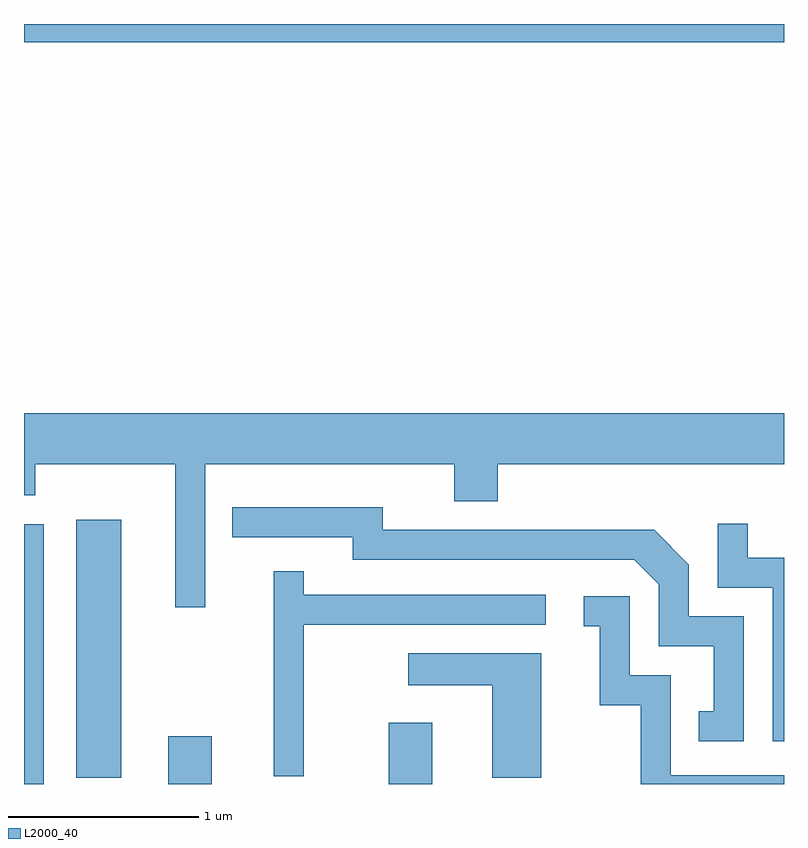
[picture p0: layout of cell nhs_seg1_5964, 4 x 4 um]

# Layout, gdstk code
import gdstk
lib = gdstk.Library(unit=1e-6, precision=1e-09)
def R(c, l, rs):  # rectangles x0, y0, x1, y1
    for r in rs: c.add(gdstk.rectangle(r[:2], r[2:], *l))
def P(c, l, *ps):  # polygons
    for p in ps: c.add(gdstk.Polygon(p, *l))
L2000_40 = (2000, 40)

nhs_seg1_5964 = lib.new_cell('nhs_seg1_5964')
R(nhs_seg1_5964, L2000_40, [(365.611,855.712,365.714,857.079), (366.371,855.712,366.599,855.964), (367.531,855.712,367.759,856.034), (365.886,855.746,366.124,857.104), (365.611,859.616,369.611,859.712)])
P(nhs_seg1_5964, L2000_40, [(366.564,857.396),(367.876,857.396),(367.876,857.201),(368.104,857.201),(368.104,857.396),(369.611,857.396),(369.611,857.664),(365.611,857.664),(365.611,857.231),(365.669,857.231),(365.669,857.396),(366.406,857.396),(366.406,856.643),(366.564,856.643)],
  [(369.399,856.594),(369.109,856.594),(369.109,856.867),(368.927,857.049),(367.499,857.049),(367.499,857.169),(366.708,857.169),(366.708,857.011),(367.341,857.011),(367.341,856.891),(368.824,856.891),(368.951,856.764),(368.951,856.436),(369.241,856.436),(369.241,856.094),(369.163,856.094),(369.163,855.936),(369.399,855.936)],
  [(369.611,856.904),(369.419,856.904),(369.419,857.083),(369.261,857.083),(369.261,856.746),(369.551,856.746),(369.551,855.936),(369.611,855.936)],
  [(367.084,856.551),(368.358,856.551),(368.358,856.709),(367.084,856.709),(367.084,856.833),(366.926,856.833),(366.926,855.753),(367.084,855.753)],
  [(369.611,855.759),(369.014,855.759),(369.014,856.284),(368.799,856.284),(368.799,856.699),(368.558,856.699),(368.558,856.541),(368.641,856.541),(368.641,856.126),(368.856,856.126),(368.856,855.712),(369.611,855.712)],
  [(368.334,856.399),(367.633,856.399),(367.633,856.231),(368.076,856.231),(368.076,855.746),(368.334,855.746)])

lib.write_gds('nhs_seg1_5964.gds')
